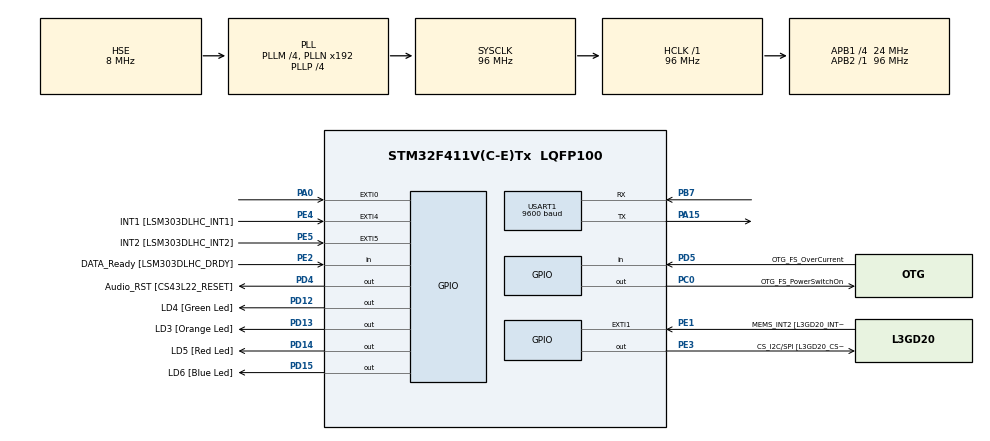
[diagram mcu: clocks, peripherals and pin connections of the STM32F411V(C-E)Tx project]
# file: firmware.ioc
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ADC1.Channel-0\#ChannelRegularConversion=ADC_CHANNEL_TEMPSENSOR
ADC1.Channel-1\#ChannelRegularConversion=ADC_CHANNEL_VREFINT
ADC1.DMAContinuousRequests=ENABLE
ADC1.EOCSelection=ADC_EOC_SEQ_CONV
ADC1.NbrOfConversion=2
ADC1.NbrOfConversionFlag=1
ADC1.Rank-0\#ChannelRegularConversion=1
ADC1.Rank-1\#ChannelRegularConversion=2
ADC1.SamplingTime-0\#ChannelRegularConversion=ADC_SAMPLETIME_144CYCLES
ADC1.SamplingTime-1\#ChannelRegularConversion=ADC_SAMPLETIME_144CYCLES
ADC1.ScanConvMode=ENABLE
ADC1.master=1
Dma.ADC1.0.Direction=DMA_PERIPH_TO_MEMORY
Dma.ADC1.0.FIFOMode=DMA_FIFOMODE_DISABLE
Dma.ADC1.0.Instance=DMA2_Stream0
Dma.ADC1.0.MemDataAlignment=DMA_MDATAALIGN_HALFWORD
Dma.ADC1.0.MemInc=DMA_MINC_ENABLE
Dma.ADC1.0.Mode=DMA_CIRCULAR
Dma.ADC1.0.PeriphDataAlignment=DMA_PDATAALIGN_HALFWORD
Dma.ADC1.0.PeriphInc=DMA_PINC_DISABLE
Dma.ADC1.0.Priority=DMA_PRIORITY_LOW
Dma.Request0=ADC1
FREERTOS.Tasks01=defaultTask,24,128,StartDefaultTask,Default,NULL,Dynamic,NULL,NULL
FREERTOS.configUSE_NEWLIB_REENTRANT=1
Mcu.Family=STM32F4
Mcu.Name=STM32F411V(C-E)Tx
Mcu.Package=LQFP100
NVIC.ADC_IRQn=true\:5\:0\:false\:false\:true\:true\:true\:true\:true
NVIC.DMA2_Stream0_IRQn=true\:5\:0\:false\:false\:true\:true\:false\:true\:true
NVIC.PriorityGroup=NVIC_PRIORITYGROUP_4
NVIC.TIM1_UP_TIM10_IRQn=true\:15\:0\:false\:false\:true\:false\:false\:true\:true
NVIC.TimeBase=TIM1_UP_TIM10_IRQn
NVIC.TimeBaseIP=TIM1
PA0-WKUP.GPIO_ModeDefaultEXTI=GPIO_MODE_EVT_RISING
PA0-WKUP.Signal=GPXTI0
PA10.GPIO_Label=OTG_FS_ID
PA10.Signal=USB_OTG_FS_ID
PA11.GPIO_Label=OTG_FS_DM
PA11.Signal=USB_OTG_FS_DM
PA12.GPIO_Label=OTG_FS_DP
PA12.Signal=USB_OTG_FS_DP
PA13.GPIO_Label=SWDIO
PA13.Mode=Serial_Wire
PA13.Signal=SYS_JTMS-SWDIO
PA14.GPIO_Label=SWCLK
PA14.Mode=Serial_Wire
PA14.Signal=SYS_JTCK-SWCLK
PA15.Mode=Asynchronous
PA15.Signal=USART1_TX
PA4.GPIO_Label=I2S3_WS [CS43L22_LRCK]
PA4.GPIO_Mode=GPIO_MODE_AF_PP
PA4.GPIO_PuPd=GPIO_NOPULL
PA4.GPIO_Speed=GPIO_SPEED_FREQ_LOW
PA4.Signal=I2S3_WS
PA5.GPIO_Label=SPI1_SCK [L3GD20_SC/SPC]
PA5.Signal=SPI1_SCK
PA6.GPIO_Label=SPI1_MISO [L3GD20_AS0/SDO]
PA6.Signal=SPI1_MISO
PA7.GPIO_Label=SPI1_MOSI [L3GD20_SDA/SDI/SDO]
PA7.Signal=SPI1_MOSI
PA9.GPIO_Label=VBUS_FS
PA9.Signal=USB_OTG_FS_VBUS
PB10.GPIO_Label=CLK_IN [MP45DT02_CLK]
PB10.Signal=I2S2_CK
PB12.Signal=I2S2_WS
PB3.GPIO_Label=SWO
PB3.Signal=SYS_JTDO-SWO
PB6.GPIO_Label=Audio_SCL [CS43L22_SCL]
PB6.GPIO_Mode=GPIO_MODE_AF_OD
PB6.GPIO_Pu=GPIO_PULLUP
PB6.GPIO_PuPd=GPIO_NOPULL
PB6.GPIO_Speed=GPIO_SPEED_FREQ_LOW
PB6.Signal=I2C1_SCL
PB7.Mode=Asynchronous
PB7.Signal=USART1_RX
PB9.GPIO_Label=Audio_SDA [CS43L22_SDA]
PB9.GPIO_Mode=GPIO_MODE_AF_OD
PB9.GPIO_Pu=GPIO_PULLUP
PB9.GPIO_PuPd=GPIO_NOPULL
PB9.GPIO_Speed=GPIO_SPEED_FREQ_LOW
PB9.Signal=I2C1_SDA
PC0.GPIO_Label=OTG_FS_PowerSwitchOn
PC0.PinState=GPIO_PIN_SET
PC0.Signal=GPIO_Output
PC10.GPIO_Label=I2S3_SCK [CS43L22_SCLK]
PC10.GPIO_Mode=GPIO_MODE_AF_PP
PC10.GPIO_PuPd=GPIO_NOPULL
PC10.GPIO_Speed=GPIO_SPEED_FREQ_LOW
PC10.Signal=I2S3_CK
PC12.GPIO_Label=I2S3_SD [CS43L22_SDIN]
PC12.GPIO_Mode=GPIO_MODE_AF_PP
PC12.GPIO_PuPd=GPIO_NOPULL
PC12.GPIO_Speed=GPIO_SPEED_FREQ_LOW
PC12.Signal=I2S3_SD
PC14-OSC32_IN.GPIO_Label=PC14-OSC32_IN
PC14-OSC32_IN.Mode=LSE-External-Oscillator
PC14-OSC32_IN.Signal=RCC_OSC32_IN
PC15-OSC32_OUT.GPIO_Label=PC15-OSC32_OUT
PC15-OSC32_OUT.Mode=LSE-External-Oscillator
PC15-OSC32_OUT.Signal=RCC_OSC32_OUT
PC3.GPIO_Label=PDM_OUT [MP45DT02_DOUT]
PC3.Signal=I2S2_SD
PC7.GPIO_Label=I2S3_MCK [CS43L22_MCLK]
PC7.GPIO_Mode=GPIO_MODE_AF_PP
PC7.GPIO_PuPd=GPIO_NOPULL
PC7.GPIO_Speed=GPIO_SPEED_FREQ_LOW
PC7.Signal=I2S3_MCK
PD12.GPIO_Label=LD4 [Green Led]
PD12.GPIO_PuPd=GPIO_NOPULL
PD12.GPIO_Speed=GPIO_SPEED_FREQ_LOW
PD12.Signal=GPIO_Output
PD13.GPIO_Label=LD3 [Orange Led]
PD13.GPIO_PuPd=GPIO_NOPULL
PD13.GPIO_Speed=GPIO_SPEED_FREQ_LOW
PD13.Signal=GPIO_Output
PD14.GPIO_Label=LD5 [Red Led]
PD14.GPIO_PuPd=GPIO_NOPULL
PD14.GPIO_Speed=GPIO_SPEED_FREQ_LOW
PD14.Signal=GPIO_Output
PD15.GPIO_Label=LD6 [Blue Led]
PD15.GPIO_PuPd=GPIO_NOPULL
PD15.GPIO_Speed=GPIO_SPEED_FREQ_LOW
PD15.Signal=GPIO_Output
PD4.GPIO_Label=Audio_RST [CS43L22_RESET]
PD4.Signal=GPIO_Output
PD5.GPIO_Label=OTG_FS_OverCurrent
PD5.Signal=GPIO_Input
PE1.GPIO_Label=MEMS_INT2 [L3GD20_INT2]
PE1.GPIO_ModeDefaultEXTI=GPIO_MODE_EVT_RISING
PE1.Signal=GPXTI1
PE2.GPIO_Label=DATA_Ready [LSM303DLHC_DRDY]
PE2.Signal=GPIO_Input
PE3.GPIO_Label=CS_I2C/SPI [L3GD20_CS_I2C/SPI]
PE3.Signal=GPIO_Output
PE4.GPIO_Label=INT1 [LSM303DLHC_INT1]
PE4.GPIO_ModeDefaultEXTI=GPIO_MODE_EVT_RISING
PE4.Signal=GPXTI4
PE5.GPIO_Label=INT2 [LSM303DLHC_INT2]
PE5.GPIO_ModeDefaultEXTI=GPIO_MODE_EVT_RISING
PE5.Signal=GPXTI5
PH0\ -\ OSC_IN.GPIO_Label=PH0-OSC_IN
PH0\ -\ OSC_IN.Mode=HSE-External-Oscillator
PH0\ -\ OSC_IN.Signal=RCC_OSC_IN
PH1\ -\ OSC_OUT.GPIO_Label=PH1-OSC_OUT
PH1\ -\ OSC_OUT.Mode=HSE-External-Oscillator
PH1\ -\ OSC_OUT.Signal=RCC_OSC_OUT
ProjectManager.HeapSize=0x200
ProjectManager.StackSize=0x400
ProjectManager.TargetToolchain=STM32CubeIDE
RCC.48MHZClocksFreq_Value=48000000
RCC.AHBFreq_Value=96000000
RCC.APB1CLKDivider=RCC_HCLK_DIV4
RCC.APB1Freq_Value=24000000
RCC.APB1TimFreq_Value=48000000
RCC.APB2Freq_Value=96000000
RCC.APB2TimFreq_Value=96000000
RCC.CortexFreq_Value=96000000
RCC.HCLKFreq_Value=96000000
RCC.HSE_VALUE=8000000
RCC.HSI_VALUE=16000000
RCC.PLLI2SM=5
RCC.PLLI2SN=200
RCC.PLLM=4
RCC.PLLP=RCC_PLLP_DIV4
RCC.PLLQ=8
RCC.PLLSourceVirtual=RCC_PLLSOURCE_HSE
RCC.SYSCLKFreq_VALUE=96000000
RCC.SYSCLKSource=RCC_SYSCLKSOURCE_PLLCLK
RCC.VCOOutputFreq_Value=384000000
USART1.BaudRate=9600
USART1.VirtualMode=VM_ASYNC
VP_ADC1_TempSens_Input.Mode=IN-TempSens
VP_ADC1_Vref_Input.Mode=IN-Vrefint
VP_FREERTOS_VS_CMSIS_V2.Mode=CMSIS_V2
VP_SYS_VS_tim1.Mode=TIM1
board=STM32F411E-DISCO

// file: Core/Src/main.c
/* USER CODE BEGIN Header */
/**
  ******************************************************************************
  * @file           : main.c
  * @brief          : Main program body
  ******************************************************************************
  * @attention
  *
  * Copyright (c) 2025 STMicroelectronics.
  * All rights reserved.
  *
  * This software is licensed under terms that can be found in the LICENSE file
  * in the root directory of this software component.
  * If no LICENSE file comes with this software, it is provided AS-IS.
  *
  ******************************************************************************
  */
/* USER CODE END Header */
#include "main.h"
#include "cmsis_os.h"

/* USER CODE BEGIN Includes */
#include "stdlib.h"		/*Agrego para debuguear con printf*/
#include "queue.h"
#include "stdio.h"
#include "string.h"
/* USER CODE END Includes */

/* USER CODE BEGIN PTD */
typedef struct{
	uint16_t TempVal;
	uint16_t VrefVal;
}xDataAdc;
xDataAdc Temp_DMA_BUFFER;
/* USER CODE END PTD */

/* USER CODE BEGIN PD */
#define VREFINT 1.2	/*Tensión de referencia interna*/
#define ADCMAX 4095.0 /*2^12 - 1 : Cuentas máximas*/
#define V25C 1.430 /*Tensión en mV promedio a 25°C*/
#define AVGSLP 4 /*Pendiente promedio en mV/°C*/
/* USER CODE END PD */

ADC_HandleTypeDef hadc1;
DMA_HandleTypeDef hdma_adc1;

UART_HandleTypeDef huart1;

/* Definitions for defaultTask */
osThreadId_t defaultTaskHandle;
const osThreadAttr_t defaultTask_attributes = {
  .name = "defaultTask",
  .stack_size = 128 * 4,
  .priority = (osPriority_t) osPriorityNormal,
};

void SystemClock_Config(void);
static void MX_GPIO_Init(void);
static void MX_DMA_Init(void);
static void MX_USART1_UART_Init(void);
static void MX_ADC1_Init(void);
void StartDefaultTask(void *argument);

/* USER CODE BEGIN PFP */
xQueueHandle xAdcTempHandle;	/*Creo handle de la queue*/
/* USER CODE END PFP */

/* USER CODE BEGIN 0 */

void read_adc(void *p){
	for(;;){
 		//HAL_ADC_Start_IT(&hadc1);
 		HAL_ADC_Start_DMA(&hadc1, (uint32_t*)&Temp_DMA_BUFFER, 2);
		vTaskDelay(1000/portTICK_RATE_MS);
	}
}
void temp_write(void *p){
	xDataAdc xDataToConvert;
	float xTemperature = 0;
	int xTempMsg[2] = {0,0};
	/*Debido a que el hardware es capaz de hacerlo, se utiliza tipo de dato
	 * float para calcular los datos*/
	float xVrefInt = 0;
	float xVMeasured = 0;
	BaseType_t xStatus;
	char uart_buffer[30];
	for(;;){
		xStatus = xQueueReceive(xAdcTempHandle, &xDataToConvert, 100/portTICK_RATE_MS);
		if(xStatus==pdPASS){
			//Vref va desde 1.8 hasta 3.6 ---> 4096===3.6V
			xVrefInt = (float)(VREFINT*ADCMAX)/((float)xDataToConvert.VrefVal);
			xVMeasured= (xVrefInt*((float)xDataToConvert.TempVal))/ADCMAX;
			xTemperature = (float)(((xVMeasured-V25C)/AVGSLP+25));
			xTempMsg[0]	=	(int)xTemperature;
			xTempMsg[1]	=	(int)((xTemperature-xTempMsg[0])*100);
			snprintf(uart_buffer, sizeof(uart_buffer), "Temp: %d.%02d C\r\n",xTempMsg[0],xTempMsg[1]);
			HAL_UART_Transmit(&huart1, (uint8_t *)uart_buffer, strlen(uart_buffer), HAL_MAX_DELAY);
			/*Todos los calculos fueron realizados basándose en el manual de referencia RM0383 para STM32F411xC/E*/
			vTaskDelay(1000/portTICK_RATE_MS);
		}
	}
}
uint8_t uint16_to_ascii(uint16_t num, char* buffer, int len) {
    uint8_t i = 0;
    uint8_t length = 0;
    char temp[5];
    // Caso 0
    if (num == 0) {
        buffer[0] = '0';
        buffer[1] = '\0';
        return 1;
    }
    while (num > 0) {
        temp[i++] = (num % 10) + '0';
        num /= 10;
    }
    length = i;
    while (i > 0) {
        buffer[length - i] = temp[i-1];
        i--;
    }
    buffer[length] = '\0';
    return length;
}

int _write(int file, char *ptr, int len)
{
  int i=0;
  for(i=0 ; i<len ; i++)
    ITM_SendChar((*ptr++));
  return len;
}	//Implementación de _write para printf para testeo
/* USER CODE END 0 */

int main(void)
{

  /* MCU Configuration--------------------------------------------------------*/

  /* Reset of all peripherals, Initializes the Flash interface and the Systick. */
  HAL_Init();

  /* Configure the system clock */
  SystemClock_Config();

  /* Initialize all configured peripherals */
  MX_GPIO_Init();
  MX_DMA_Init();
  MX_USART1_UART_Init();
  MX_ADC1_Init();

  /* Init scheduler */
  osKernelInitialize();

  /* USER CODE BEGIN RTOS_QUEUES */
  /*Configuro handle ya creado para la queue y a la queue, con tipo de dato struct 2 * uint16_t */

  xAdcTempHandle = xQueueCreate(10,sizeof(xDataAdc));
  if(xAdcTempHandle==NULL)
	  Error_Handler();
  /* USER CODE END RTOS_QUEUES */

  /* Create the thread(s) */
  /* creation of defaultTask */
  defaultTaskHandle = osThreadNew(StartDefaultTask, NULL, &defaultTask_attributes);

  /* USER CODE BEGIN RTOS_THREADS */
  /*Tarea de lectura de adc*/
  if(xTaskCreate(read_adc,"ADC_READ", configMINIMAL_STACK_SIZE, NULL, osPriorityNormal, NULL)!=pdPASS)
	  Error_Handler();
  /*Tarea de recepción y manejo de datos*/
  if(xTaskCreate(temp_write,"TEMP_WRITE", configMINIMAL_STACK_SIZE, NULL, osPriorityNormal+1, NULL)!=pdPASS)
  	  Error_Handler();
  /* USER CODE END RTOS_THREADS */

  /* Start scheduler */
  osKernelStart();

  /* We should never get here as control is now taken by the scheduler */

  /* Infinite loop */
  while (1)
  {

  }
}

void SystemClock_Config(void)
{
  RCC_OscInitTypeDef RCC_OscInitStruct = {0};
  RCC_ClkInitTypeDef RCC_ClkInitStruct = {0};

  /** Configure the main internal regulator output voltage
  */
  __HAL_RCC_PWR_CLK_ENABLE();
  __HAL_PWR_VOLTAGESCALING_CONFIG(PWR_REGULATOR_VOLTAGE_SCALE1);

  /** Initializes the RCC Oscillators according to the specified parameters
  * in the RCC_OscInitTypeDef structure.
  */
  RCC_OscInitStruct.OscillatorType = RCC_OSCILLATORTYPE_HSE;
  RCC_OscInitStruct.HSEState = RCC_HSE_ON;
  RCC_OscInitStruct.PLL.PLLState = RCC_PLL_ON;
  RCC_OscInitStruct.PLL.PLLSource = RCC_PLLSOURCE_HSE;
  RCC_OscInitStruct.PLL.PLLM = 4;
  RCC_OscInitStruct.PLL.PLLN = 192;
  RCC_OscInitStruct.PLL.PLLP = RCC_PLLP_DIV4;
  RCC_OscInitStruct.PLL.PLLQ = 8;
  if (HAL_RCC_OscConfig(&RCC_OscInitStruct) != HAL_OK)
  {
    Error_Handler();
  }

  /** Initializes the CPU, AHB and APB buses clocks
  */
  RCC_ClkInitStruct.ClockType = RCC_CLOCKTYPE_HCLK|RCC_CLOCKTYPE_SYSCLK
                              |RCC_CLOCKTYPE_PCLK1|RCC_CLOCKTYPE_PCLK2;
  RCC_ClkInitStruct.SYSCLKSource = RCC_SYSCLKSOURCE_PLLCLK;
  RCC_ClkInitStruct.AHBCLKDivider = RCC_SYSCLK_DIV1;
  RCC_ClkInitStruct.APB1CLKDivider = RCC_HCLK_DIV4;
  RCC_ClkInitStruct.APB2CLKDivider = RCC_HCLK_DIV1;

  if (HAL_RCC_ClockConfig(&RCC_ClkInitStruct, FLASH_LATENCY_3) != HAL_OK)
  {
    Error_Handler();
  }
}

static void MX_ADC1_Init(void)
{

  ADC_ChannelConfTypeDef sConfig = {0};

  /** Configure the global features of the ADC (Clock, Resolution, Data Alignment and number of conversion)
  */
  hadc1.Instance = ADC1;
  hadc1.Init.ClockPrescaler = ADC_CLOCK_SYNC_PCLK_DIV4;
  hadc1.Init.Resolution = ADC_RESOLUTION_12B;
  hadc1.Init.ScanConvMode = ENABLE;
  hadc1.Init.ContinuousConvMode = DISABLE;
  hadc1.Init.DiscontinuousConvMode = DISABLE;
  hadc1.Init.ExternalTrigConvEdge = ADC_EXTERNALTRIGCONVEDGE_NONE;
  hadc1.Init.ExternalTrigConv = ADC_SOFTWARE_START;
  hadc1.Init.DataAlign = ADC_DATAALIGN_RIGHT;
  hadc1.Init.NbrOfConversion = 2;
  hadc1.Init.DMAContinuousRequests = ENABLE;
  hadc1.Init.EOCSelection = ADC_EOC_SEQ_CONV;
  if (HAL_ADC_Init(&hadc1) != HAL_OK)
  {
    Error_Handler();
  }

  /** Configure for the selected ADC regular channel its corresponding rank in the sequencer and its sample time.
  */
  sConfig.Channel = ADC_CHANNEL_TEMPSENSOR;
  sConfig.Rank = 1;
  sConfig.SamplingTime = ADC_SAMPLETIME_144CYCLES;
  if (HAL_ADC_ConfigChannel(&hadc1, &sConfig) != HAL_OK)
  {
    Error_Handler();
  }

  /** Configure for the selected ADC regular channel its corresponding rank in the sequencer and its sample time.
  */
  sConfig.Channel = ADC_CHANNEL_VREFINT;
  sConfig.Rank = 2;
  if (HAL_ADC_ConfigChannel(&hadc1, &sConfig) != HAL_OK)
  {
    Error_Handler();
  }
  /* USER CODE BEGIN ADC1_Init 2 */
  HAL_NVIC_SetPriority(ADC_IRQn, 5, 0);
  HAL_NVIC_EnableIRQ(ADC_IRQn);
  /* USER CODE END ADC1_Init 2 */

}

static void MX_USART1_UART_Init(void)
{

  huart1.Instance = USART1;
  huart1.Init.BaudRate = 9600;
  huart1.Init.WordLength = UART_WORDLENGTH_8B;
  huart1.Init.StopBits = UART_STOPBITS_1;
  huart1.Init.Parity = UART_PARITY_NONE;
  huart1.Init.Mode = UART_MODE_TX_RX;
  huart1.Init.HwFlowCtl = UART_HWCONTROL_NONE;
  huart1.Init.OverSampling = UART_OVERSAMPLING_16;
  if (HAL_UART_Init(&huart1) != HAL_OK)
  {
    Error_Handler();
  }

}

static void MX_DMA_Init(void)
{

  /* DMA controller clock enable */
  __HAL_RCC_DMA2_CLK_ENABLE();

  /* DMA interrupt init */
  /* DMA2_Stream0_IRQn interrupt configuration */
  HAL_NVIC_SetPriority(DMA2_Stream0_IRQn, 5, 0);
  HAL_NVIC_EnableIRQ(DMA2_Stream0_IRQn);

}

static void MX_GPIO_Init(void)
{
  GPIO_InitTypeDef GPIO_InitStruct = {0};

  /* GPIO Ports Clock Enable */
  __HAL_RCC_GPIOE_CLK_ENABLE();
  __HAL_RCC_GPIOC_CLK_ENABLE();
  __HAL_RCC_GPIOH_CLK_ENABLE();
  __HAL_RCC_GPIOA_CLK_ENABLE();
  __HAL_RCC_GPIOB_CLK_ENABLE();
  __HAL_RCC_GPIOD_CLK_ENABLE();

  /*Configure GPIO pin Output Level */
  HAL_GPIO_WritePin(CS_I2C_SPI_GPIO_Port, CS_I2C_SPI_Pin, GPIO_PIN_RESET);

  /*Configure GPIO pin Output Level */
  HAL_GPIO_WritePin(OTG_FS_PowerSwitchOn_GPIO_Port, OTG_FS_PowerSwitchOn_Pin, GPIO_PIN_SET);

  /*Configure GPIO pin Output Level */
  HAL_GPIO_WritePin(GPIOD, LD4_Pin|LD3_Pin|LD5_Pin|LD6_Pin
                          |Audio_RST_Pin, GPIO_PIN_RESET);

  /*Configure GPIO pin : DATA_Ready_Pin */
  GPIO_InitStruct.Pin = DATA_Ready_Pin;
  GPIO_InitStruct.Mode = GPIO_MODE_INPUT;
  GPIO_InitStruct.Pull = GPIO_NOPULL;
  HAL_GPIO_Init(DATA_Ready_GPIO_Port, &GPIO_InitStruct);

  /*Configure GPIO pin : CS_I2C_SPI_Pin */
  GPIO_InitStruct.Pin = CS_I2C_SPI_Pin;
  GPIO_InitStruct.Mode = GPIO_MODE_OUTPUT_PP;
  GPIO_InitStruct.Pull = GPIO_NOPULL;
  GPIO_InitStruct.Speed = GPIO_SPEED_FREQ_LOW;
  HAL_GPIO_Init(CS_I2C_SPI_GPIO_Port, &GPIO_InitStruct);

  /*Configure GPIO pins : INT1_Pin INT2_Pin MEMS_INT2_Pin */
  GPIO_InitStruct.Pin = INT1_Pin|INT2_Pin|MEMS_INT2_Pin;
  GPIO_InitStruct.Mode = GPIO_MODE_EVT_RISING;
  GPIO_InitStruct.Pull = GPIO_NOPULL;
  HAL_GPIO_Init(GPIOE, &GPIO_InitStruct);

  /*Configure GPIO pin : OTG_FS_PowerSwitchOn_Pin */
  GPIO_InitStruct.Pin = OTG_FS_PowerSwitchOn_Pin;
  GPIO_InitStruct.Mode = GPIO_MODE_OUTPUT_PP;
  GPIO_InitStruct.Pull = GPIO_NOPULL;
  GPIO_InitStruct.Speed = GPIO_SPEED_FREQ_LOW;
  HAL_GPIO_Init(OTG_FS_PowerSwitchOn_GPIO_Port, &GPIO_InitStruct);

  /*Configure GPIO pin : PDM_OUT_Pin */
  GPIO_InitStruct.Pin = PDM_OUT_Pin;
  GPIO_InitStruct.Mode = GPIO_MODE_AF_PP;
  GPIO_InitStruct.Pull = GPIO_NOPULL;
  GPIO_InitStruct.Speed = GPIO_SPEED_FREQ_LOW;
  GPIO_InitStruct.Alternate = GPIO_AF5_SPI2;
  HAL_GPIO_Init(PDM_OUT_GPIO_Port, &GPIO_InitStruct);

  /*Configure GPIO pin : PA0 */
  GPIO_InitStruct.Pin = GPIO_PIN_0;
  GPIO_InitStruct.Mode = GPIO_MODE_EVT_RISING;
  GPIO_InitStruct.Pull = GPIO_NOPULL;
  HAL_GPIO_Init(GPIOA, &GPIO_InitStruct);

  /*Configure GPIO pin : I2S3_WS_Pin */
  GPIO_InitStruct.Pin = I2S3_WS_Pin;
  GPIO_InitStruct.Mode = GPIO_MODE_AF_PP;
  GPIO_InitStruct.Pull = GPIO_NOPULL;
  GPIO_InitStruct.Speed = GPIO_SPEED_FREQ_LOW;
  GPIO_InitStruct.Alternate = GPIO_AF6_SPI3;
  HAL_GPIO_Init(I2S3_WS_GPIO_Port, &GPIO_InitStruct);

  /*Configure GPIO pins : SPI1_SCK_Pin SPI1_MISO_Pin SPI1_MOSI_Pin */
  GPIO_InitStruct.Pin = SPI1_SCK_Pin|SPI1_MISO_Pin|SPI1_MOSI_Pin;
  GPIO_InitStruct.Mode = GPIO_MODE_AF_PP;
  GPIO_InitStruct.Pull = GPIO_NOPULL;
  GPIO_InitStruct.Speed = GPIO_SPEED_FREQ_VERY_HIGH;
  GPIO_InitStruct.Alternate = GPIO_AF5_SPI1;
  HAL_GPIO_Init(GPIOA, &GPIO_InitStruct);

  /*Configure GPIO pins : CLK_IN_Pin PB12 */
  GPIO_InitStruct.Pin = CLK_IN_Pin|GPIO_PIN_12;
  GPIO_InitStruct.Mode = GPIO_MODE_AF_PP;
  GPIO_InitStruct.Pull = GPIO_NOPULL;
  GPIO_InitStruct.Speed = GPIO_SPEED_FREQ_LOW;
  GPIO_InitStruct.Alternate = GPIO_AF5_SPI2;
  HAL_GPIO_Init(GPIOB, &GPIO_InitStruct);

  /*Configure GPIO pins : LD4_Pin LD3_Pin LD5_Pin LD6_Pin
                           Audio_RST_Pin */
  GPIO_InitStruct.Pin = LD4_Pin|LD3_Pin|LD5_Pin|LD6_Pin
                          |Audio_RST_Pin;
  GPIO_InitStruct.Mode = GPIO_MODE_OUTPUT_PP;
  GPIO_InitStruct.Pull = GPIO_NOPULL;
  GPIO_InitStruct.Speed = GPIO_SPEED_FREQ_LOW;
  HAL_GPIO_Init(GPIOD, &GPIO_InitStruct);

  /*Configure GPIO pins : I2S3_MCK_Pin I2S3_SCK_Pin I2S3_SD_Pin */
  GPIO_InitStruct.Pin = I2S3_MCK_Pin|I2S3_SCK_Pin|I2S3_SD_Pin;
  GPIO_InitStruct.Mode = GPIO_MODE_AF_PP;
  GPIO_InitStruct.Pull = GPIO_NOPULL;
  GPIO_InitStruct.Speed = GPIO_SPEED_FREQ_LOW;
  GPIO_InitStruct.Alternate = GPIO_AF6_SPI3;
  HAL_GPIO_Init(GPIOC, &GPIO_InitStruct);

  /*Configure GPIO pin : VBUS_FS_Pin */
  GPIO_InitStruct.Pin = VBUS_FS_Pin;
  GPIO_InitStruct.Mode = GPIO_MODE_INPUT;
  GPIO_InitStruct.Pull = GPIO_NOPULL;
  HAL_GPIO_Init(VBUS_FS_GPIO_Port, &GPIO_InitStruct);

  /*Configure GPIO pins : OTG_FS_ID_Pin OTG_FS_DM_Pin OTG_FS_DP_Pin */
  GPIO_InitStruct.Pin = OTG_FS_ID_Pin|OTG_FS_DM_Pin|OTG_FS_DP_Pin;
  GPIO_InitStruct.Mode = GPIO_MODE_AF_PP;
  GPIO_InitStruct.Pull = GPIO_NOPULL;
  GPIO_InitStruct.Speed = GPIO_SPEED_FREQ_VERY_HIGH;
  GPIO_InitStruct.Alternate = GPIO_AF10_OTG_FS;
  HAL_GPIO_Init(GPIOA, &GPIO_InitStruct);

  /*Configure GPIO pin : OTG_FS_OverCurrent_Pin */
  GPIO_InitStruct.Pin = OTG_FS_OverCurrent_Pin;
  GPIO_InitStruct.Mode = GPIO_MODE_INPUT;
  GPIO_InitStruct.Pull = GPIO_NOPULL;
  HAL_GPIO_Init(OTG_FS_OverCurrent_GPIO_Port, &GPIO_InitStruct);

  /*Configure GPIO pins : Audio_SCL_Pin Audio_SDA_Pin */
  GPIO_InitStruct.Pin = Audio_SCL_Pin|Audio_SDA_Pin;
  GPIO_InitStruct.Mode = GPIO_MODE_AF_OD;
  GPIO_InitStruct.Pull = GPIO_PULLUP;
  GPIO_InitStruct.Speed = GPIO_SPEED_FREQ_LOW;
  GPIO_InitStruct.Alternate = GPIO_AF4_I2C1;
  HAL_GPIO_Init(GPIOB, &GPIO_InitStruct);

}

/* USER CODE BEGIN 4 */
void HAL_ADC_ConvCpltCallback(ADC_HandleTypeDef* hadc)
{
    // Read & Update The ADC Result
	//Llama a esta función cuando termina 1 ciclo de conversión de todos los canales
	static xDataAdc tempval={0,0};
	static portBASE_TYPE xHigherPriorityTaskWoken = pdFALSE;

	tempval.TempVal=Temp_DMA_BUFFER.TempVal;
	tempval.VrefVal=Temp_DMA_BUFFER.VrefVal;
	HAL_ADC_Stop_DMA(&hadc1);
	xQueueSendToBackFromISR(xAdcTempHandle,&tempval,&xHigherPriorityTaskWoken);

}
/* USER CODE END 4 */

void StartDefaultTask(void *argument)
{
  for(;;)
  {
    osDelay(1);
  }
}

void HAL_TIM_PeriodElapsedCallback(TIM_HandleTypeDef *htim)
{
  if (htim->Instance == TIM1) {
    HAL_IncTick();
  }
}

void Error_Handler(void)
{
  __disable_irq();
  while (1)
  {
  }
}
